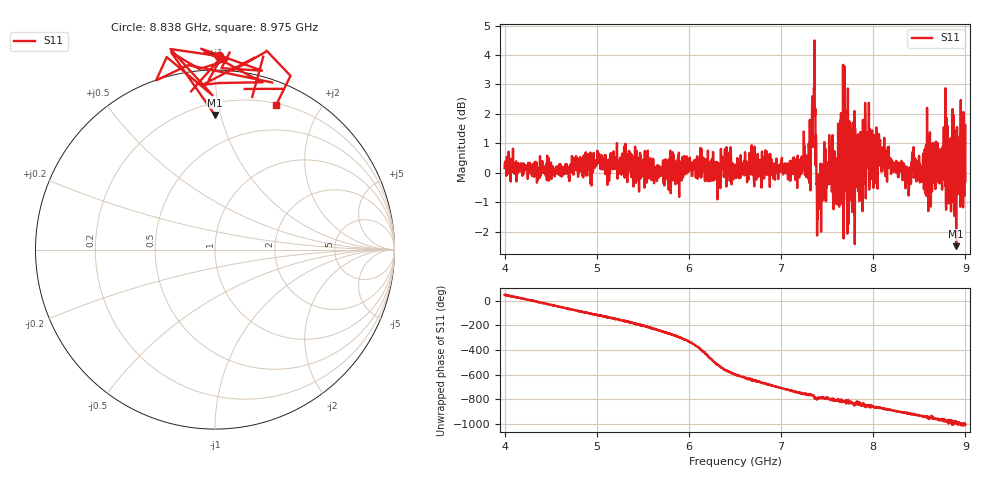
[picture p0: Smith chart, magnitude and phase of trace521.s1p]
! Created with skrf 1.8.0 (http://scikit-rf.org).
# Hz S RI R 50.0
!freq ReS11 ImS11
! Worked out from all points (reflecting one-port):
!   1601 points, 4 GHz to 9 GHz, reference 50 ohm
!   lowest |S11| = -2.5 dB at 8.9 GHz (marker M1), VSWR 7.02, Z = 13.9 + j47.9 ohm
!   phase of S11 starts at 48 deg and turns -1053 deg over the sweep
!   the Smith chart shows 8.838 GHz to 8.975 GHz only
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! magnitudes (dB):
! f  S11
! 4 GHz  0.2
! 4.625 GHz  -0.1
! 5.25 GHz  0.0
! 5.875 GHz  0.4
! 6.5 GHz  -0.1
! 7.125 GHz  0.2
! 7.294 GHz  -0.2
! 7.347 GHz  2.0
! 7.362 GHz  4.5
! 7.409 GHz  -0.9
! 7.5 GHz  0.0
! 7.616 GHz  -1.0
! 7.669 GHz  1.2
! 7.703 GHz  0.4
! 7.75 GHz  0.4
! 7.788 GHz  -0.2
! 7.891 GHz  0.2
! 7.909 GHz  0.4
! 7.928 GHz  1.3
! 7.981 GHz  -0.1
! 8.097 GHz  0.5
! 8.375 GHz  -0.2
! 8.441 GHz  -0.2
! 8.612 GHz  1.1
! 8.775 GHz  0.8
! 8.9 GHz  -2.5
! 8.972 GHz  0.5
! 9 GHz  -0.3
